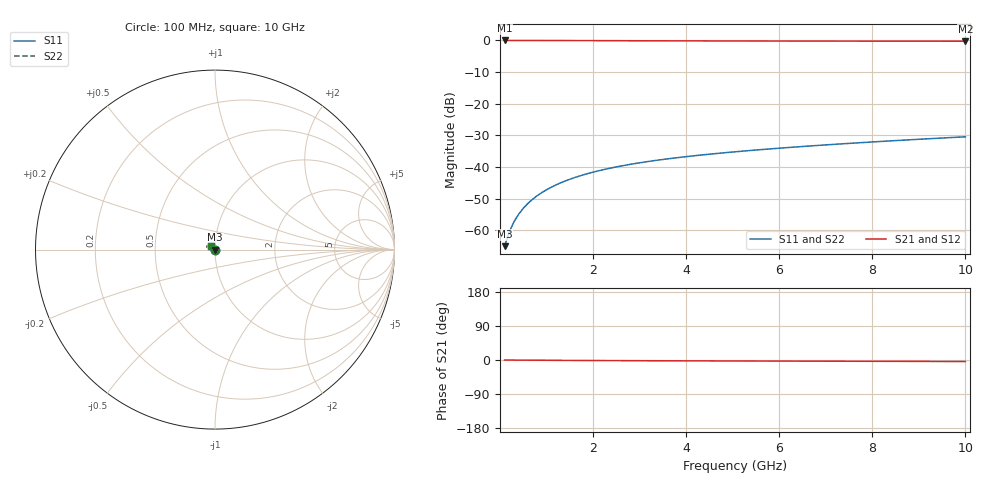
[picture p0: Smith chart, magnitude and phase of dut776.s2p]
! Touchstone file exported from HFSS 2024.1.0
!  File:  C:/UserFiles/LocalFiles/RDL_TSV_Batchsim/temp_TSV1_776_1779873990.aedt
!  Generated:  05:34:52 PM May 27, 2026
!  Design:  TSV1
!  Project:  temp_TSV1_776_1779873990
!  Setup:  Setup1
!  Solution:  Sweep
! Variables:
!  dtsv = 5.64um
!  hbump = 3um
!  htsv = 55.44um
!  lrdl = 252.1521522um
!  p = 40
!  p1 = 50.3um
!  t = 500um
!  trdl = 3um
!  wrdl = 24.89489489um
# GHz S MA R 50.000000
! Terminal data exported
! Port[1] = TSV22_T1
! Port[2] = TSV22_T2
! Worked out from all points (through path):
!   100 points, 100 MHz to 10 GHz, reference 50 ohm
!   highest |S21| = 0.00 dB at 100 MHz (marker M1); lowest = -0.2 dB at 10 GHz (marker M2)
!   lowest |S11| = -65.1 dB at 100 MHz (marker M3), VSWR 1.00, Z = 50 - j0.0448 ohm
!   |S11| at or under -10 dB: start of sweep to end of sweep
!   |S22| runs from -65.1 to -30.5 dB; largest |S21 - S12| = 3e-15
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0.1  0.0005579 -53.3  0.9996 -0.1  0.9996 -0.1  0.0005579 -53.3
! Gamma 0 0 0 0
! Port Impedance 50 0 50 0
0.2  0.0009346 -73.2  0.9996 -0.2  0.9996 -0.2  0.0009346 -73.2
0.3  0.00135 -82.8  0.9995 -0.2  0.9995 -0.2  0.00135 -82.8
0.4  0.001778 -89.0  0.9993 -0.3  0.9993 -0.3  0.001778 -89.0
0.5  0.002211 -93.6  0.9991 -0.4  0.9991 -0.4  0.002211 -93.6
0.6  0.002644 -97.5  0.9989 -0.5  0.9989 -0.5  0.002644 -97.5
0.7  0.003075 -100.9  0.9987 -0.5  0.9987 -0.5  0.003075 -100.9
0.8  0.003503 -104.1  0.9984 -0.6  0.9984 -0.6  0.003503 -104.1
0.9  0.003928 -107.0  0.9981 -0.7  0.9981 -0.7  0.003928 -107.0
1.1  0.004764 -112.4  0.9974 -0.8  0.9974 -0.8  0.004764 -112.4
1.4  0.00598 -120.0  0.9962 -1.0  0.9962 -1.0  0.00598 -120.0
1.6  0.006763 -124.7  0.9953 -1.1  0.9953 -1.1  0.006763 -124.7
1.8  0.007522 -129.2  0.9944 -1.3  0.9944 -1.3  0.007522 -129.2
2.1  0.008616 -135.6  0.993 -1.4  0.993 -1.4  0.008616 -135.6
2.5  0.009995 -143.6  0.991 -1.6  0.991 -1.6  0.009995 -143.6
2.9  0.01129 -151.0  0.9891 -1.8  0.9891 -1.8  0.01129 -151.0
3.4  0.01281 -159.4  0.9869 -2.0  0.9869 -2.0  0.01281 -159.4
4.2  0.01508 -171.1  0.9838 -2.3  0.9838 -2.3  0.01508 -171.1
5.1  0.01746 177.7  0.9809 -2.6  0.9809 -2.6  0.01746 177.7
6.7  0.02153 162.2  0.9773 -3.1  0.9773 -3.1  0.02153 162.2
8.4  0.02582 150.0  0.9747 -3.5  0.9747 -3.5  0.02582 150.0
10  0.02993 141.2  0.9729 -4.0  0.9729 -4.0  0.02993 141.2
